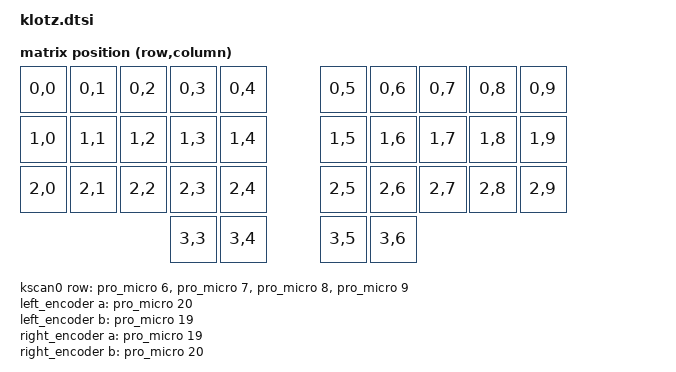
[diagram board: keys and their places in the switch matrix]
/*
 * Copyright (c) 2022 The ZMK Contributors
 * SPDX-License-Identifier: MIT
 */

#include <dt-bindings/zmk/matrix_transform.h>

/ {
    chosen {
        zmk,kscan = &kscan0;
        zmk,matrix_transform = &default_transform;
    };

    default_transform: keymap_transform {
        compatible = "zmk,matrix-transform";
        columns = <10>;
        rows = <4>;
        map = <
        RC(0,0) RC(0,1) RC(0,2) RC(0,3) RC(0,4)    RC(0,5) RC(0,6) RC(0,7) RC(0,8) RC(0,9)
        RC(1,0) RC(1,1) RC(1,2) RC(1,3) RC(1,4)    RC(1,5) RC(1,6) RC(1,7) RC(1,8) RC(1,9)
        RC(2,0) RC(2,1) RC(2,2) RC(2,3) RC(2,4)    RC(2,5) RC(2,6) RC(2,7) RC(2,8) RC(2,9)
                                RC(3,3) RC(3,4)    RC(3,5) RC(3,6)
        >;
    };

    kscan0: kscan {
        compatible = "zmk,kscan-gpio-matrix";
        diode-direction = "col2row";
        row-gpios
            = <&pro_micro 6 (GPIO_ACTIVE_HIGH | GPIO_PULL_DOWN)>
            , <&pro_micro 7 (GPIO_ACTIVE_HIGH | GPIO_PULL_DOWN)>
            , <&pro_micro 8 (GPIO_ACTIVE_HIGH | GPIO_PULL_DOWN)>
            , <&pro_micro 9 (GPIO_ACTIVE_HIGH | GPIO_PULL_DOWN)>
            ;
    };

    /* 개별 제어를 위한 LED 정의 */
    leds {
        compatible = "gpio-leds";
        led_d3: led_0 {
            gpios = <&pro_micro 3 GPIO_ACTIVE_HIGH>; // D3 / P0.20
        };
        led_d4: led_1 {
            gpios = <&pro_micro 4 GPIO_ACTIVE_HIGH>; // D4 / P0.22
        };
        led_d5: led_2 {
            gpios = <&pro_micro 5 GPIO_ACTIVE_HIGH>; // D5 / P0.24
        };
    };

    left_encoder: encoder_left {
        compatible = "alps,ec11";
        a-gpios = <&pro_micro 20 (GPIO_ACTIVE_HIGH | GPIO_PULL_UP)>;
        b-gpios = <&pro_micro 19 (GPIO_ACTIVE_HIGH | GPIO_PULL_UP)>;
        steps = <40>;
    };

    right_encoder: encoder_right {
        compatible = "alps,ec11";
        a-gpios = <&pro_micro 19 (GPIO_ACTIVE_HIGH | GPIO_PULL_UP)>;
        b-gpios = <&pro_micro 20 (GPIO_ACTIVE_HIGH | GPIO_PULL_UP)>;
        steps = <40>;
    };

    sensors {
        compatible = "zmk,keymap-sensors";
        sensors = <&left_encoder &right_encoder>;
        triggers-per-rotation = <20>;
    };
};
